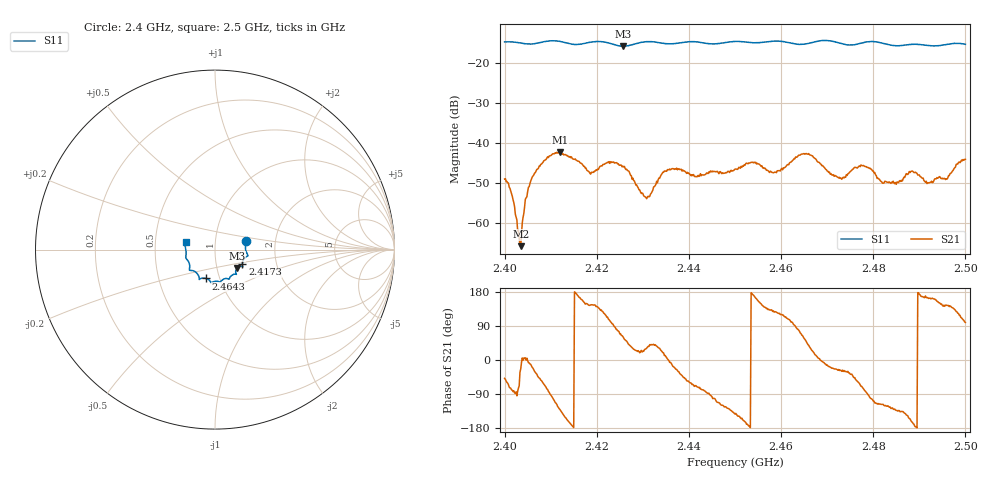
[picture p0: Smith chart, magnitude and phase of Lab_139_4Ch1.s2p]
# Hz S RI R 50
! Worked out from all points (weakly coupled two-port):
!   601 points, 2.4 GHz to 2.5 GHz, reference 50 ohm
!   highest |S21| = -42.36 dB at 2.412 GHz (marker M1); lowest = -65.8 dB at 2.4035 GHz (marker M2)
!   lowest |S11| = -15.9 dB at 2.4257 GHz (marker M3), VSWR 1.38, Z = 62.4 - j13.1 ohm
!   |S11| at or under -10 dB: start of sweep to end of sweep
!   S12 and S22 are empty: the file has one direction only
!   S11 on the Smith chart (normalised r, x): 2.4 GHz: 1.41, +0.14; 2.4173 GHz: 1.34, -0.23; 2.4643 GHz: 0.86, -0.28; 2.5 GHz: 0.72, +0.06
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2.4e9  0.1736 0.0496  0.00235 -0.00264  0 0  0 0
2.401333e9  0.1755 0.0441  0.000672 -0.00242  0 0  0 0
2.4035e9  0.1726 0.0302  0.000471 -0.000208  0 0  0 0
2.404833e9  0.1699 0.0153  0.00212 0.000174  0 0  0 0
2.406167e9  0.1706 -0.000975  0.00358 -0.00143  0 0  0 0
2.412e9  0.18 -0.0365  -0.00496 -0.00578  0 0  0 0
2.416667e9  0.1529 -0.0746  -0.0052 0.0019  0 0  0 0
2.417333e9  0.1525 -0.082  -0.00446 0.00244  0 0  0 0
2.425667e9  0.1224 -0.1024  0.0024 0.00451  0 0  0 0
2.430667e9  0.1191 -0.1376  0.00181 0.00102  0 0  0 0
2.433333e9  0.1131 -0.1367  0.00293 0.00188  0 0  0 0
2.436167e9  0.0928 -0.1439  0.00462 -0.000725  0 0  0 0
2.45e9  0.0295 -0.181  -0.00372 -0.00286  0 0  0 0
2.4585e9  -0.0203 -0.184  -0.00253 0.00344  0 0  0 0
2.464333e9  -0.0502 -0.1606  0.00252 0.00672  0 0  0 0
2.466667e9  -0.0764 -0.16  0.00624 0.00296  0 0  0 0
2.472667e9  -0.0898 -0.1499  0.00329 -0.00173  0 0  0 0
2.477833e9  -0.1339 -0.1159  0.00135 -0.00505  0 0  0 0
2.483333e9  -0.1407 -0.0896  -0.00172 -0.00269  0 0  0 0
2.488333e9  -0.1613 -0.0492  -0.00422 -0.0013  0 0  0 0
2.495667e9  -0.1664 0.0169  -0.00284 0.00201  0 0  0 0
2.5e9  -0.1634 0.0421  -0.000989 0.00614  0 0  0 0
